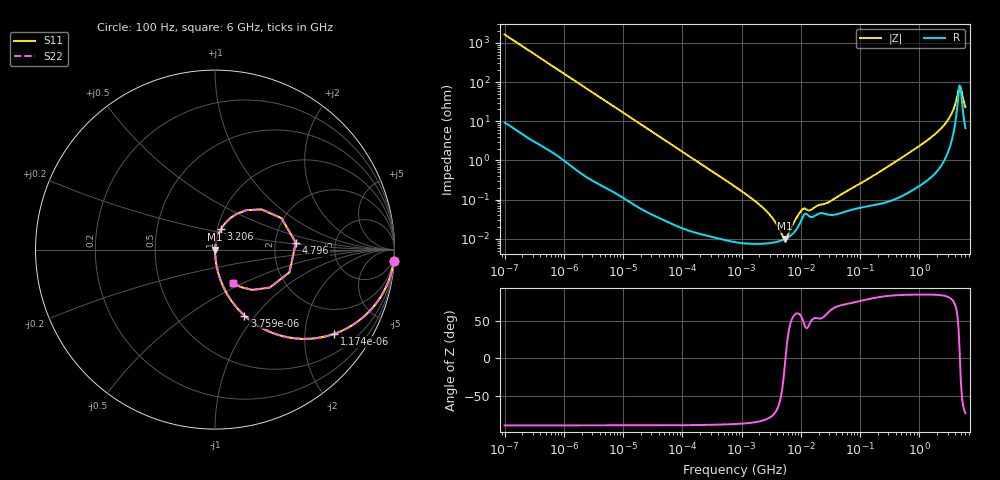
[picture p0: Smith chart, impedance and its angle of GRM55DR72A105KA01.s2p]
!Murata Part Number: GRM55DR72A105KA01
!These Parameters are Measured in Series Mode Connection
!Data Generated on Mar 30, 2021
!  o--ll--o
!Port1  Port2
!  o------o
!Operation Temp=25[degC], DC Bias Voltage=0[V]
!Freq. Start=100[Hz] Stop=6[GHz] 401[Steps]
# Hz S RI R 50
!Freq.(Hz) S11(Real) S11(Imag) S21(Real) S21(Imag) S12(Real) S12(Imag) S22(Real) S22(Imag)
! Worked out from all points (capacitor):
!   401 points, 100 Hz to 6 GHz, reference 50 ohm
!   read as one part in series: C = 971 nF near 109 Hz
!   lowest |Z| = 10.1 mohm at 5.312 MHz (marker M1)
!   series resonance near 5.517 MHz, so ESL is about 860 pH
!   S11 on the Smith chart (normalised r, x): 100 Hz: 1, -33; 1.174 kHz: 1.02, -2.82; 3.759 kHz: 1.01, -0.88; 3.206 GHz: 1.04, +0.24; 4.796 GHz: 2.62, +0.25; 6 GHz: 1.13, -0.44
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100  0.9959 -0.0609  0.00407 0.0609  0.00407 0.0609  0.9959 -0.0609
458  0.9266 -0.2577  0.0734 0.2577  0.0734 0.2577  0.9266 -0.2577
1174  0.6637 -0.4695  0.3363 0.4695  0.3363 0.4695  0.6637 -0.4695
2008  0.4049 -0.4881  0.5951 0.4881  0.5951 0.4881  0.4049 -0.4881
3759  0.1642 -0.3676  0.8358 0.3676  0.8358 0.3676  0.1642 -0.3676
11009  0.0233 -0.1476  0.9767 0.1476  0.9767 0.1476  0.0233 -0.1476
40335  0.00206 -0.0414  0.9979 0.0414  0.9979 0.0414  0.00206 -0.0414
774597  8.73e-05 -0.00215  0.9999 0.00215  0.9999 0.00215  8.73e-05 -0.00215
2594782  7.63e-05 -0.000515  0.9999 0.000515  0.9999 0.000515  7.63e-05 -0.000515
3549919  8.12e-05 -0.000285  0.9999 0.000285  0.9999 0.000285  8.12e-05 -0.000285
5311619  9.8e-05 -2.41e-05  0.9999 2.41e-05  0.9999 2.41e-05  9.8e-05 -2.41e-05
6075234  0.000109 6.24e-05  0.9999 -6.24e-05  0.9999 -6.24e-05  0.000109 6.24e-05
1.039699e7  0.000322 0.000439  0.9997 -0.000439  0.9997 -0.000439  0.000322 0.000439
1.555665e7  0.000361 0.00045  0.9996 -0.00045  0.9996 -0.00045  0.000361 0.00045
3.045065e7  0.00041 0.000784  0.9996 -0.000784  0.9996 -0.000784  0.00041 0.000784
3.124326e8  0.000958 0.00731  0.999 -0.00731  0.999 -0.00731  0.000958 0.00731
1.565993e9  0.00509 0.0379  0.9949 -0.0379  0.9949 -0.0379  0.00509 0.0379
3.205649e9  0.0329 0.1139  0.9671 -0.1139  0.9671 -0.1139  0.0329 0.1139
4.193612e9  0.1761 0.22  0.8239 -0.22  0.8239 -0.22  0.1761 0.22
4.796499e9  0.4505 0.0382  0.5495 -0.0382  0.5495 -0.0382  0.4505 0.0382
5.486059e9  0.2076 -0.2244  0.7924 0.2244  0.7924 0.2244  0.2076 -0.2244
6e9  0.1009 -0.1861  0.8991 0.1861  0.8991 0.1861  0.1009 -0.1861
